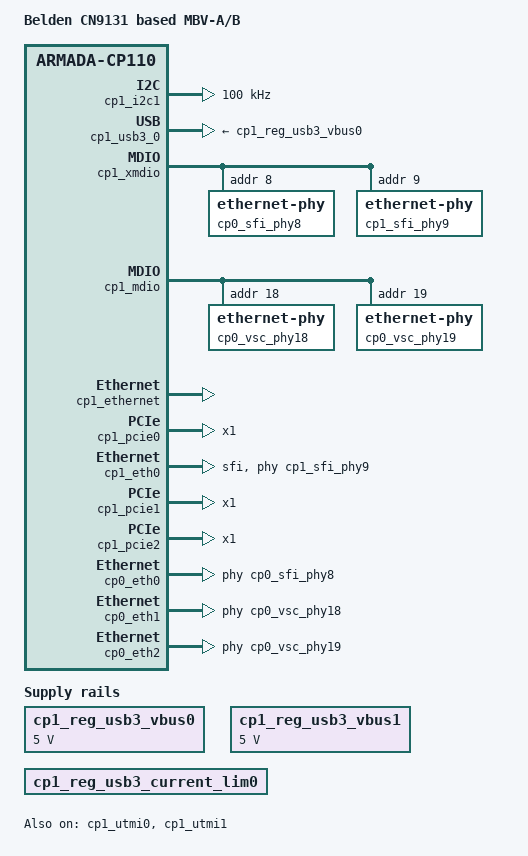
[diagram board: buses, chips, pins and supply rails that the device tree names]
/*
* Copyright (C) 2020 SolidRun ltd.
*
* SPDX-License-Identifier:    GPL-2.0
* https://spdx.org/licenses
*/

/* Device Tree file for the cn1931 based belden mbv carrier board, cp1  */

#undef CP110_NAME
#undef CP110_NUM
#undef CP110_PCIE_MEM_SIZE
#undef CP110_PCIEx_CPU_MEM_BASE
#undef CP110_PCIEx_BUS_MEM_BASE

/* CP110-1 Settings */
#define CP110_NAME                     cp1
#define CP110_NUM                      1
#define CP110_PCIE_MEM_SIZE(iface)     (0xf00000)
#define CP110_PCIEx_CPU_MEM_BASE(iface)        (0xe2000000 + (iface) * 0x1000000)
#define CP110_PCIEx_BUS_MEM_BASE(iface)        (CP110_PCIEx_CPU_MEM_BASE(iface))

#include "armada-cp110.dtsi"
/ {
       model = "Belden CN9131 based MBV-A/B";
       compatible = "marvell,cn9131-db";

       aliases {
               gpio3 = &cp1_gpio0;
               gpio4 = &cp1_gpio1;
               // fuse5 = &cp1_ld_efuse0; /* bank 68 RO */
               // fuse6 = &cp1_ld_efuse1; /* bank 69 RW */
       };
	cp1 {
                config-space {
                        cp1_reg_usb3_vbus0: cp1_usb3_vbus@0 {
                                compatible = "regulator-fixed";
                                pinctrl-names = "default";
                                regulator-name = "cp1-xhci0-vbus";
                                regulator-min-microvolt = <5000000>;
                                regulator-max-microvolt = <5000000>;
                                startup-delay-us = <100000>;
                                regulator-force-boot-off;
                        };
                        cp1_reg_usb3_vbus1: cp1_usb3_vbus@0 {
                                compatible = "regulator-fixed";
                                pinctrl-names = "default";
                                regulator-name = "cp1-xhci0-vbus";
                                regulator-min-microvolt = <5000000>;
                                regulator-max-microvolt = <5000000>;
                                startup-delay-us = <100000>;
                                regulator-force-boot-off;
                        };

                        cp1_reg_usb3_current_lim0: cp1_usb3_current_limiter@0 {
                                compatible = "regulator-fixed";
                                regulator-min-microamp = <900000>;
                                regulator-max-microamp = <900000>;
                                regulator-force-boot-off;
                        };
                };
        };
};

// &cp1_ld_efuse0 {
//        status = "disabled";
// };
//
// &cp1_ld_efuse1 {
//        status = "disabled";
// };

&cp1_i2c1 {
       pinctrl-names = "default";
       pinctrl-0 = <&cp1_i2c1_pins>;
       status = "okay";
       clock-frequency = <100000>;
};

&cp1_utmi0 {
        status = "okay";
};
&cp1_utmi1 {
        status = "okay";
};

&cp1_usb3_0 {
        status = "disabled";
};

&cp1_xmdio {
        status = "okay";
        pinctrl-0 = <&cp1_xmdio_pins>;
	cp0_sfi_phy8: ethernet-phy@8 {
                reg = <8>;
        };
	cp1_sfi_phy9: ethernet-phy@9 {
                reg = <9>;
        };
};

&cp1_mdio {
        status = "okay";
        pinctrl-0 = <&cp1_mdio_pins>;
        cp0_vsc_phy18: ethernet-phy@18 {
                reg = <18>;
        };
	cp0_vsc_phy19: ethernet-phy@19 {
                reg = <19>;
        };
};


&cp1_pinctl {
       compatible = "marvell,mvebu-pinctrl",
                    "marvell,cp115-standalone-pinctrl";
       bank-name ="cp1-110";

       /* MPP Bus:
	*	[3:2]	xmdio
	*	[5:4]	mdio
	*	[36:35]	i2c1
	*	[43:40]	rs232
	*/
               /*      0    1    2    3    4    5    6    7    8    9 */
       pin-func = <    0x0  0x0  0xa  0xa  0xa  0xa  0x0  0x0  0x0  0x0
                       0x0  0x0  0x0  0x0  0x0	0x0  0x0  0x0  0x0  0x0
                       0x0  0x0  0x0  0x0  0x0  0x0  0x0  0x0  0x0  0x0
                       0x0  0x0  0x0  0x0  0x0  0x2  0x2  0x0  0x0  0x0
                       0x7  0x7  0x7  0x7  0x0  0x0  0x0  0x0  0x0  0x0
                       0x0  0x0  0x0  0x0  0x0  0x0  0x0  0x0  0x0  0x0
                       0x0  0x0  0x0 >;

	cp1_i2c1_pins: cp1-i2c-pins-1 {
		marvell,pins = < 35 36 >;
		marvell,function = <2>;
	};
	cp1_xmdio_pins: cp1-xmdio-pins-0 {
               marvell,pins = < 2 3 >;
               marvell,function = <10>;
	};
	cp1_mdio_pins: cp1-mdio-pins-0 {
               marvell,pins = < 4 5 >;
               marvell,function = <10>;
        };
	cp1_uart1_pins: cp1-uart1-pins-0 {
               marvell,pins = < 40 41 42 43 >;
               marvell,function = <7>;
        };
};

/* SATA0  */
&cp1_sata0 {
       status = "disabled";
};

&cp1_ethernet {
        status = "okay";
};

/* SRDS #0 - PCIe Extenssion card */
&cp1_pcie0 {
	pinctrl-names = "default";
        num-lanes = <1>;
        status = "okay";
	ranges = <0x82000000 0 0xe2000000 0 0xe2000000 0 0xf00000>;
};

/* SRDS #1 - USB Extenssion card */
&cp1_usb3_0 {
        status = "okay";
        vbus-supply = <&cp1_reg_usb3_vbus0>;
};

/* SRDS #2 - 10GE SFP+ */
&cp1_eth0 {
        status = "okay";
        phy-mode = "sfi";
        compatible = "sff,sfp";

        /* for SFP direct connectivity */
//      i2c-bus = <i2c_sfp1>;
//      mod-def0-gpio = <&cp1_gpio1 18 GPIO_ACTIVE_LOW>; //MPP50
//	compatible = "sff,sfp";
//	maximum-power-milliwatt = <2000>;

        /* MBV-A BCM PHY  | MBV-B VSC Microchip PHY */
        phy = <&cp1_sfi_phy9>; //address 0x01001

};

/* SRDS #3 - not in use */


/* SRDS #4 - mPCIe */
&cp1_pcie1 {
        num-lanes = <1>;
        status = "okay";
};

/* SRDS #5 - mPCIe */
&cp1_pcie2 {
        num-lanes = <1>;
        status = "okay";
};

/*************** definitions of addresses for cp0 eth ports ************/

&cp0_eth0 {
        status = "okay";
	phy = <&cp0_sfi_phy8>; //address 0x01000
};

&cp0_eth1 {
        status = "okay";
        phy = <&cp0_vsc_phy18>; //address 0x0011000
};

&cp0_eth2 {
        status = "okay";
        phy = <&cp0_vsc_phy19>; //address 0x0011001
};
